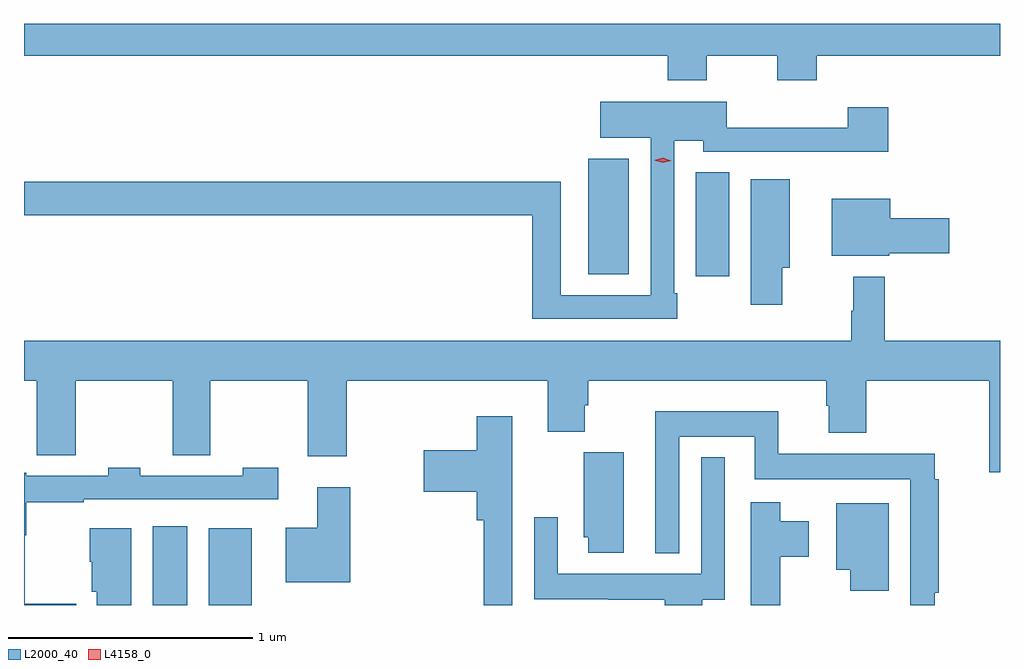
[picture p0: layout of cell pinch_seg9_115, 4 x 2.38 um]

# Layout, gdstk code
import gdstk
lib = gdstk.Library(unit=1e-6, precision=1e-09)
def R(c, l, rs):  # rectangles x0, y0, x1, y1
    for r in rs: c.add(gdstk.rectangle(r[:2], r[2:], *l))
def P(c, l, *ps):  # polygons
    for p in ps: c.add(gdstk.Polygon(p, *l))
L2000_40 = (2000, 40)
L4158_0 = (4158, 0)

pinch_seg9_115 = lib.new_cell('pinch_seg9_115')
R(pinch_seg9_115, L2000_40, [(844.895,1246.117,845.038,1246.441), (845.126,1246.117,845.302,1246.432), (847.121,1247.466,847.258,1247.891), (846.68,1247.473,846.847,1247.947)])
P(pinch_seg9_115, L2000_40, [(847.167,1248.368),(847.456,1248.368),(847.456,1248.269),(847.616,1248.269),(847.616,1248.368),(848.368,1248.368),(848.368,1248.5),(844.368,1248.5),(844.368,1248.368),(847.007,1248.368),(847.007,1248.269),(847.167,1248.269)],
  [(847.045,1247.395),(847.032,1247.395),(847.032,1248.02),(847.152,1248.02),(847.152,1247.976),(847.661,1247.976),(847.661,1247.975),(847.91,1247.975),(847.91,1248.157),(847.745,1248.157),(847.745,1248.074),(847.248,1248.074),(847.248,1248.181),(846.729,1248.181),(846.729,1248.032),(846.936,1248.032),(846.936,1247.388),(846.567,1247.388),(846.567,1247.852),(844.368,1247.852),(844.368,1247.716),(846.451,1247.716),(846.451,1247.292),(847.045,1247.292)],
  [(847.476,1247.501),(847.507,1247.501),(847.507,1247.863),(847.346,1247.863),(847.346,1247.349),(847.476,1247.349)],
  [(847.914,1247.56),(848.161,1247.56),(848.161,1247.702),(847.918,1247.702),(847.918,1247.782),(847.679,1247.782),(847.679,1247.549),(847.914,1247.549)],
  [(848.368,1247.2),(847.895,1247.2),(847.895,1247.464),(847.767,1247.464),(847.767,1247.324),(847.759,1247.324),(847.759,1247.2),(844.368,1247.2),(844.368,1247.036),(844.421,1247.036),(844.421,1246.732),(844.58,1246.732),(844.58,1247.036),(844.978,1247.036),(844.978,1246.732),(845.132,1246.732),(845.132,1247.036),(845.53,1247.036),(845.53,1246.728),(845.69,1246.728),(845.69,1247.036),(846.515,1247.036),(846.515,1246.828),(846.667,1246.828),(846.667,1246.937),(846.68,1246.937),(846.68,1247.036),(847.655,1247.036),(847.655,1246.935),(847.667,1246.935),(847.667,1246.823),(847.82,1246.823),(847.82,1247.036),(848.324,1247.036),(848.324,1246.662),(848.368,1246.662)],
  [(848.1,1246.168),(848.117,1246.168),(848.117,1246.634),(848.1,1246.634),(848.1,1246.738),(847.46,1246.738),(847.46,1246.912),(846.956,1246.912),(846.956,1246.331),(847.053,1246.331),(847.053,1246.808),(847.362,1246.808),(847.362,1246.634),(848.001,1246.634),(848.001,1246.117),(848.1,1246.117)],
  [(846.369,1246.599),(846.37,1246.599),(846.37,1246.891),(846.224,1246.891),(846.224,1246.753),(846.006,1246.753),(846.006,1246.583),(846.224,1246.583),(846.224,1246.466),(846.253,1246.466),(846.253,1246.117),(846.369,1246.117)],
  [(846.826,1246.743),(846.662,1246.743),(846.662,1246.395),(846.68,1246.395),(846.68,1246.332),(846.826,1246.332)],
  [(847.147,1246.14),(847.239,1246.14),(847.239,1246.723),(847.143,1246.723),(847.143,1246.246),(846.555,1246.246),(846.555,1246.477),(846.459,1246.477),(846.459,1246.142),(846.763,1246.142),(846.763,1246.14),(846.995,1246.14),(846.995,1246.117),(847.147,1246.117)],
  [(844.582,1246.124),(844.372,1246.124),(844.372,1246.404),(844.378,1246.404),(844.378,1246.539),(844.613,1246.539),(844.613,1246.551),(845.41,1246.551),(845.41,1246.68),(845.265,1246.68),(845.265,1246.647),(844.845,1246.647),(844.845,1246.68),(844.713,1246.68),(844.713,1246.647),(844.378,1246.647),(844.378,1246.66),(844.368,1246.66),(844.368,1246.117),(844.582,1246.117)],
  [(845.705,1246.6),(845.57,1246.6),(845.57,1246.435),(845.441,1246.435),(845.441,1246.211),(845.705,1246.211)],
  [(847.468,1246.315),(847.585,1246.315),(847.585,1246.462),(847.468,1246.462),(847.468,1246.54),(847.346,1246.54),(847.346,1246.117),(847.468,1246.117)],
  [(847.912,1246.534),(847.697,1246.534),(847.697,1246.262),(847.754,1246.262),(847.754,1246.176),(847.912,1246.176)],
  [(844.807,1246.432),(844.637,1246.432),(844.637,1246.296),(844.646,1246.296),(844.646,1246.173),(844.667,1246.173),(844.667,1246.117),(844.807,1246.117)])
P(pinch_seg9_115, L4158_0, [(846.985,1247.93),(846.95,1247.94),(846.95,1247.941),(846.95,1247.941),(846.985,1247.95),(847.02,1247.939),(847.02,1247.939),(847.02,1247.939)])

lib.write_gds('pinch_seg9_115.gds')
